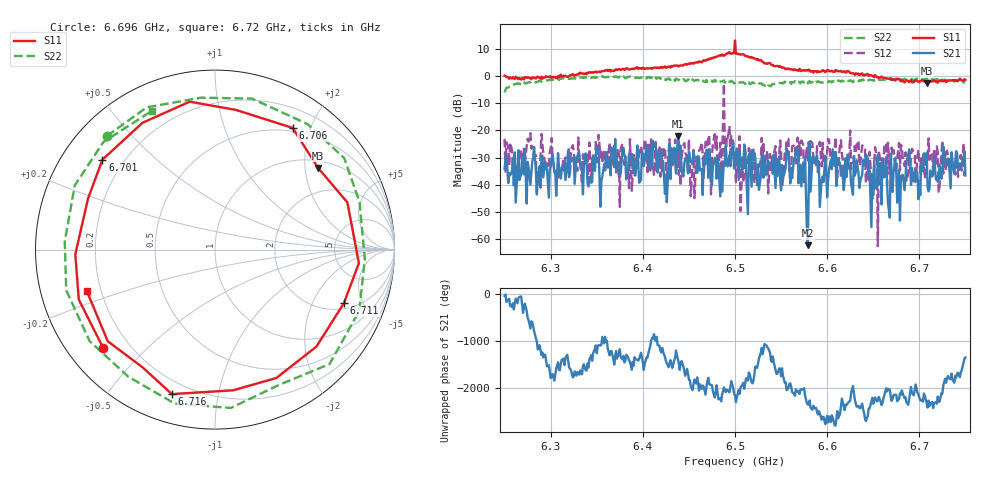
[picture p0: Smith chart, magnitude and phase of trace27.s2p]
# Hz S RI R 50
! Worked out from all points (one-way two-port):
!   401 points, 6.25 GHz to 6.75 GHz, reference 50 ohm
!   highest |S21| = -22.12 dB at 6.438 GHz (marker M1); lowest = -62.3 dB at 6.579 GHz (marker M2)
!   lowest |S11| = -2.7 dB at 6.708 GHz (marker M3), VSWR 6.49, Z = 59.6 + j117 ohm
!   |S11| at or under -10 dB: nowhere
!   |S22| runs from -6.1 to -0.1 dB; largest |S21 - S12| = 0.7
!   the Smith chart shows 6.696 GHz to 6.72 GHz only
!   S11 on the Smith chart (normalised r, x): 6.696 GHz: 0.11, -0.37; 6.701 GHz: 0.12, +0.35; 6.706 GHz: 0.45, +1.73; 6.711 GHz: 2.35, -3.54; 6.716 GHz: 0.13, -0.74; 6.72 GHz: 0.15, -0.15
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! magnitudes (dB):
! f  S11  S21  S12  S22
! 6.25 GHz  0.0  -34.2  -23.1  -6.1
! 6.334 GHz  0.9  -35.3  -39.9  -0.7
! 6.418 GHz  2.8  -28.1  -25.7  -0.7
! 6.425 GHz  3.0  -36.3  -32.6  -1.2
! 6.438 GHz  3.7  -22.1  -25.9  -1.4
! 6.454 GHz  4.7  -32.2  -31.8  -1.4
! 6.484 GHz  7.6  -44.3  -24.5  -2.1
! 6.49 GHz  7.9  -25.7  -30.5  -1.8
! 6.5 GHz  13.0  -29.4  -28.1  -2.6
! 6.515 GHz  7.1  -31.0  -26.5  -2.3
! 6.565 GHz  2.4  -31.1  -25.1  -1.9
! 6.579 GHz  1.9  -62.3  -31.1  -2.8
! 6.584 GHz  1.8  -30.0  -24.7  -2.4
! 6.668 GHz  -1.1  -52.1  -35.9  -1.3
! 6.696 GHz  -1.6  -34.5  -38.9  -1.2
! 6.701 GHz  -1.9  -43.8  -35.3  -1.2
! 6.706 GHz  -1.9  -32.6  -37.8  -1.2
! 6.708 GHz  -2.7  -28.2  -30.7  -0.9
! 6.711 GHz  -2.2  -41.5  -30.8  -1.0
! 6.716 GHz  -1.5  -29.8  -27.6  -1.5
! 6.72 GHz  -2.5  -38.9  -28.2  -1.4
! 6.75 GHz  -1.5  -36.6  -33.7  -2.1
